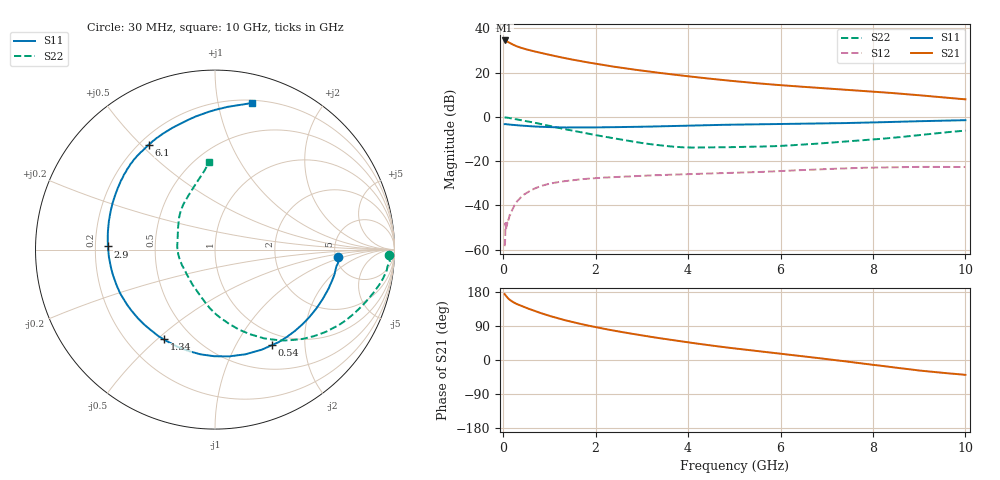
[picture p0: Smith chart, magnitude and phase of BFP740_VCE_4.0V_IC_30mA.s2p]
! Infineon Technologies  Discrete & RF Semiconductors
! BFP740
! VCE =  4.0 V,  IC =  30 mA
! Common Emitter S-Parameters:  Jan 2016
# GHz  S  MA  R  50
!  f  S11  S21  S12  S22
! GHz  MAG  ANG  MAG  ANG  MAG  ANG  MAG  ANG
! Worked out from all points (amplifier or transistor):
!   229 points, 30 MHz to 10 GHz, reference 50 ohm
!   highest |S21| = 34.5 dB at 30 MHz (marker M1)
!   |S21| within 3 dB of that: start of sweep to 338.9 MHz
!   unconditionally stable (mu >= 1): 6.162 GHz to 6.258 GHz; 6.33 GHz to 7.788 GHz; 9.1 GHz to 9.629 GHz (the widest 3 of 5)
!   at 280 MHz: K = 0.32, MSG = 35.4 dB, |S12| = -38.8 dB
!   at 1.78 GHz: K = 0.50, MSG = 26.4 dB, |S12| = -28.0 dB
!   at 10 GHz: K = 0.99, MSG = 15.3 dB, |S12| = -22.6 dB
!   S11 on the Smith chart (normalised r, x): 30 MHz: 5.21, -0.84; 540 MHz: 0.82, -1.42; 1.34 GHz: 0.35, -0.53; 2.9 GHz: 0.25, +0.01; 6.1 GHz: 0.24, +0.53; 10 GHz: 0.22, +1.26
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0.03  0.6851 -3.6  53.31 173.9  0.0012 66.7  0.9693 -1.7
0.06  0.6833 -7.6  52.15 169.0  0.0028 78.1  0.9711 -4.8
0.08  0.6803 -10.2  50.93 166.1  0.0035 73.6  0.9643 -6.6
0.12  0.6744 -15.2  48.36 161.0  0.0049 74.4  0.9491 -9.9
0.2  0.6606 -24.4  43.52 153.7  0.0081 75.9  0.9147 -15.3
0.26  0.6518 -31.0  40.68 149.7  0.0106 74.9  0.8908 -18.9
0.34  0.6419 -39.4  37.7 145.3  0.0137 69.3  0.8611 -23.4
0.54  0.6197 -59.2  32.72 135.7  0.0201 61.5  0.7893 -33.7
0.7  0.6074 -73.8  29.76 128.5  0.0246 56.8  0.7316 -41.3
0.9  0.5942 -90.3  26.66 120.3  0.029 50.5  0.6599 -49.9
1.12  0.5824 -106.2  23.71 112.1  0.0327 44.8  0.5874 -58.3
1.34  0.5759 -119.7  21.21 104.9  0.0354 40.4  0.5265 -65.5
1.7  0.5751 -138.4  17.98 94.5  0.0391 34.7  0.4433 -76.0
2.26  0.5833 -161.4  14.33 80.5  0.043 28.4  0.3476 -91.3
2.9  0.5973 178.3  11.47 66.9  0.0462 23.6  0.267 -108.5
3.4  0.612 165.1  9.818 57.3  0.0483 20.9  0.2272 -125.1
4.3  0.6445 145.7  7.635 41.5  0.052 16.2  0.203 -157.7
5.1  0.6716 133.3  6.27 29.2  0.055 13.2  0.2094 179.6
6.1  0.6918 122.2  5.115 15.3  0.0604 10.1  0.2238 157.9
6.8  0.7083 114.1  4.543 5.3  0.0648 6.4  0.2488 144.9
8.4  0.7688 92.5  3.473 -18.8  0.073 -5.0  0.3346 116.4
10  0.8427 75.7  2.492 -39.2  0.0738 -15.1  0.4899 93.7
